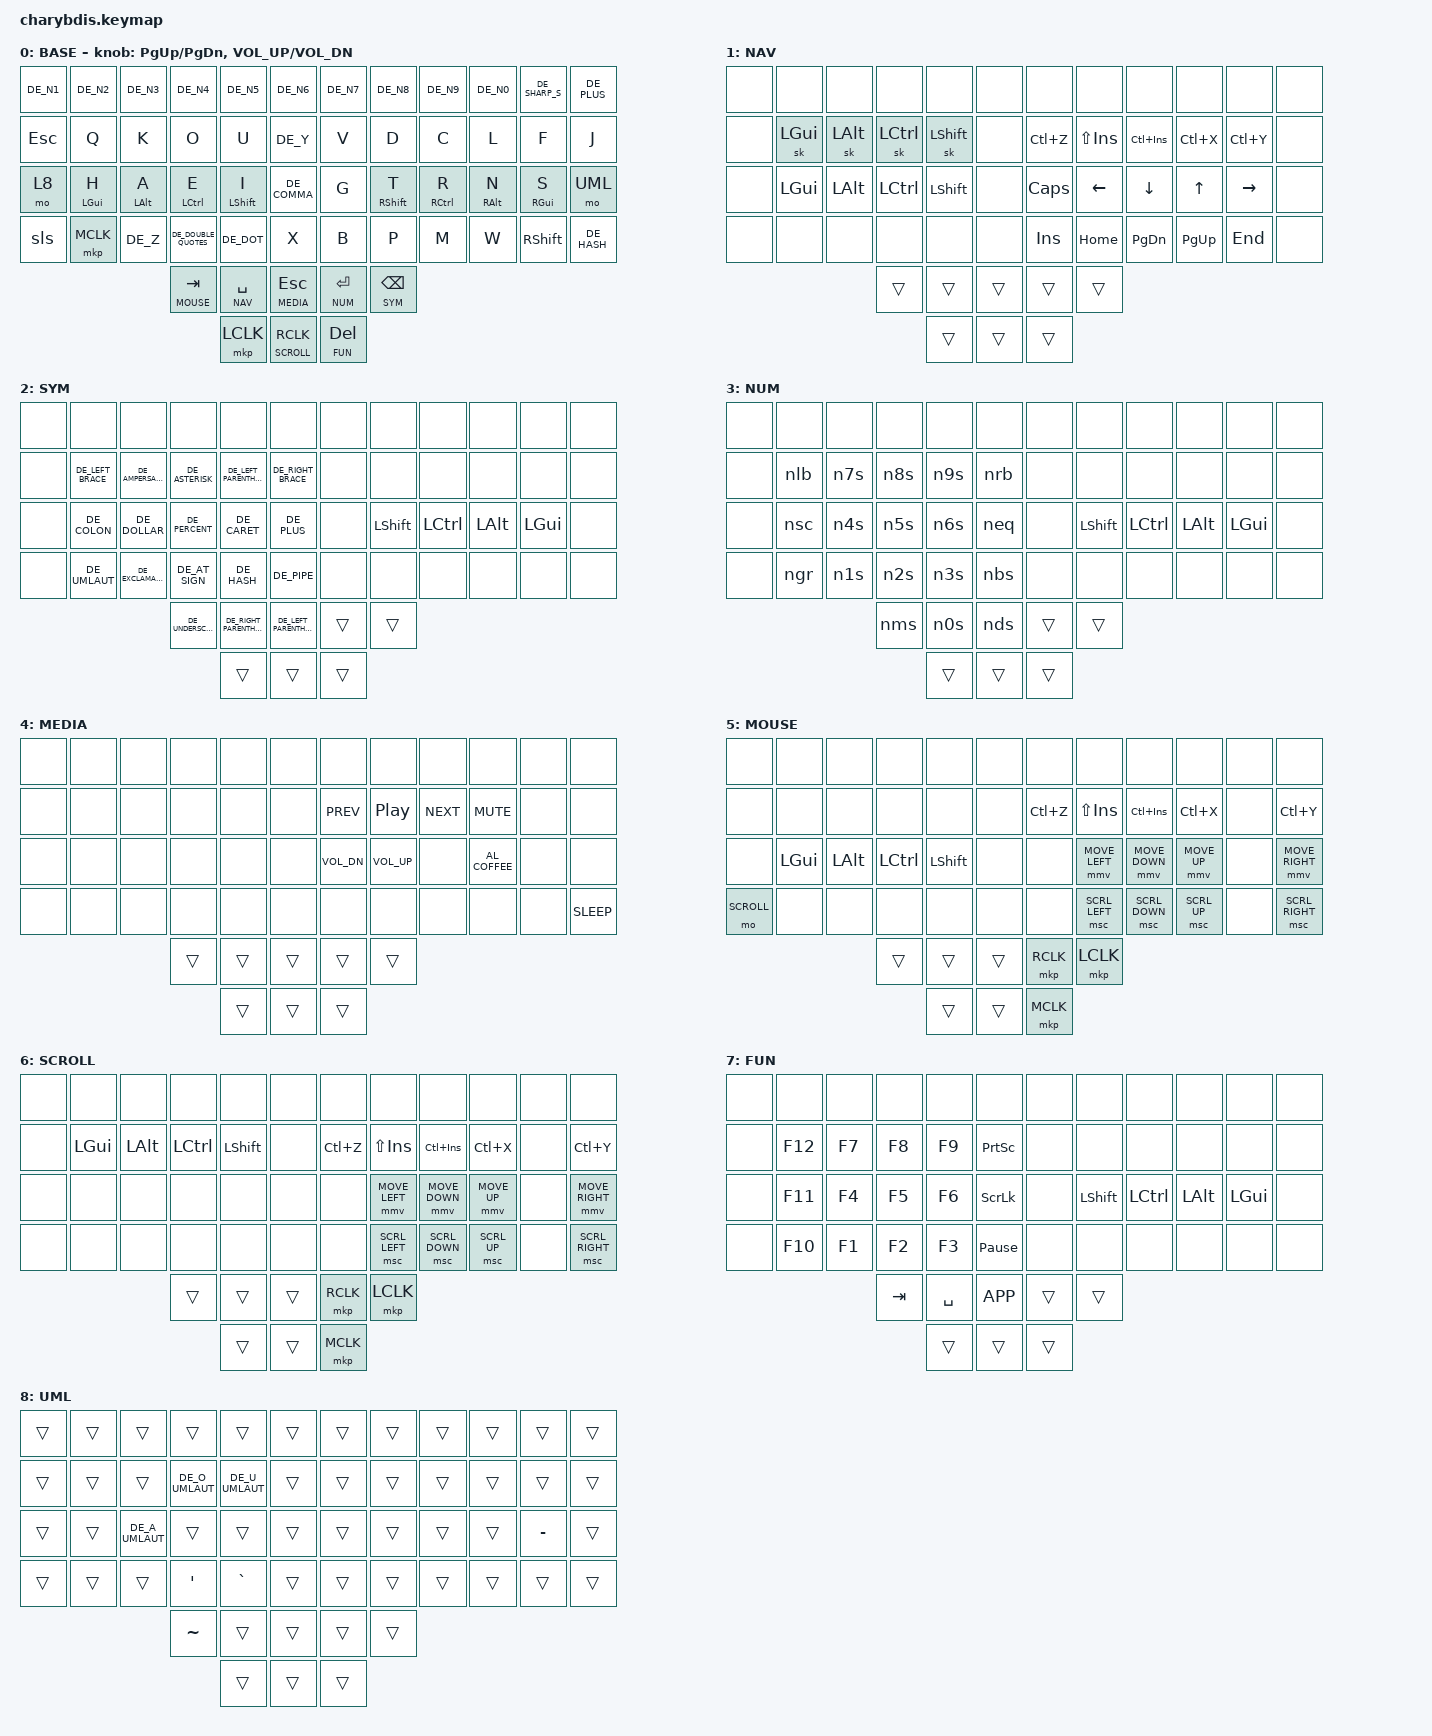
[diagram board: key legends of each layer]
#include "keys_de_german.h"
#include <dt-bindings/zmk/mouse.h>
#include <behaviors/mouse_keys.dtsi>
#include <behaviors.dtsi>
#include <dt-bindings/zmk/keys.h>
#include <dt-bindings/zmk/pointing.h>

/*
 * Custom Charybdis 4x6 layout (Anymak END alphas + Miryoku-style layers)
 * -----------------------------------------------------------------------
 * This file is the hardware source of truth.
 * `charybdis.editor.keymap` is kept editor-friendly and may differ in naming.
 */
/* Layer IDs (keep stable; referenced by listeners and toggles) */

#define BASE    0
#define NAV     1
#define SYM     2
#define NUM     3
#define MEDIA   4
#define MOUSE   5
#define SCROLL  6
#define FUN     7
#define UML     8

/ {
    /* Trackball pointer on normal layers */

    trackball_listener {
        compatible = "zmk,input-behavior-listener";
        device = <&trackball>;
        layers = <BASE NAV NUM MEDIA MOUSE>;
        evt-type = <INPUT_EV_REL>;
        x-input-code = <INPUT_REL_X>;
        y-input-code = <INPUT_REL_Y>;
        scale-multiplier = <1>;
        scale-divisor = <2>;
    };

    /* Trackball scroll only when SCROLL layer is active */

    trackball_scroll_listener {
        compatible = "zmk,input-behavior-listener";
        device = <&trackball>;
        layers = <SCROLL>;
        evt-type = <INPUT_EV_REL>;
        x-input-code = <INPUT_REL_HWHEEL>;
        y-input-code = <INPUT_REL_WHEEL>;
        y-invert;
        bindings = <&ib_wheel_scaler 1 14>;
    };

    ib_wheel_scaler: ib_wheel_scaler {
        compatible = "zmk,input-behavior-scaler";
        #binding-cells = <2>;
        evt-type = <INPUT_EV_REL>;
        input-code = <INPUT_REL_WHEEL>;
    };

    behaviors {
        /* Home-row mod hold-tap behaviors with opposite-hand hold triggers */

        hm_l: hm_l {
            compatible = "zmk,behavior-hold-tap";
            label = "HM_L";
            #binding-cells = <2>;
            tapping-term-ms = <210>;
            quick-tap-ms = <150>;
            require-prior-idle-ms = <170>;
            flavor = "balanced";
            bindings = <&kp>, <&kp>;

            hold-trigger-key-positions = <6 7 8 9 10 11 18 19 20 21 22 23 30 31 32 33 34 35 42 43 44 45 46 47 51 52 54 55>;
            hold-trigger-on-release;
        };

        hm_r: hm_r {
            compatible = "zmk,behavior-hold-tap";
            label = "HM_R";
            #binding-cells = <2>;
            tapping-term-ms = <210>;
            quick-tap-ms = <150>;
            require-prior-idle-ms = <170>;
            flavor = "balanced";
            bindings = <&kp>, <&kp>;

            hold-trigger-key-positions = <0 1 2 3 4 5 12 13 14 15 16 17 24 25 26 27 28 29 36 37 38 39 40 41 48 49 50 53>;
            hold-trigger-on-release;
        };

        /* Thumb layer-tap with quick-tap repeat: tap, then quick re-press-and-hold repeats Backspace instead of activating SYM. */

        bspc_sym: bspc_sym {
            compatible = "zmk,behavior-hold-tap";
            label = "BSPC_SYM";
            #binding-cells = <2>;
            tapping-term-ms = <210>;
            quick-tap-ms = <200>;
            flavor = "balanced";
            bindings = <&mo>, <&kp>;
        };

        /* Thumb layer-tap with quick-tap repeat for Space before NAV hold. */

        spc_nav: spc_nav {
            compatible = "zmk,behavior-hold-tap";
            label = "SPC_NAV";
            #binding-cells = <2>;
            tapping-term-ms = <210>;
            quick-tap-ms = <200>;
            flavor = "balanced";
            bindings = <&mo>, <&kp>;
        };

        /* Thumb layer-tap with quick-tap repeat for Enter before NUM hold. */

        ent_num: ent_num {
            compatible = "zmk,behavior-hold-tap";
            label = "ENT_NUM";
            #binding-cells = <2>;
            tapping-term-ms = <210>;
            quick-tap-ms = <200>;
            flavor = "balanced";
            bindings = <&mo>, <&kp>;
        };

        /* Thumb layer-tap with quick-tap repeat for Delete before FUN hold. */

        del_fun: del_fun {
            compatible = "zmk,behavior-hold-tap";
            label = "DEL_FUN";
            #binding-cells = <2>;
            tapping-term-ms = <210>;
            quick-tap-ms = <200>;
            flavor = "balanced";
            bindings = <&mo>, <&kp>;
        };

        /* Mouse button hold-tap: tap right click, hold scroll layer. */

        rclk_scroll: rclk_scroll {
            compatible = "zmk,behavior-hold-tap";
            label = "RCLK_SCR";
            #binding-cells = <2>;
            tapping-term-ms = <210>;
            flavor = "balanced";
            bindings = <&mo>, <&mkp>;
        };

        /* NUM layer shifted dual-bindings (tap number, hold shift => symbol) */

        n7s: n7s {
            compatible = "zmk,behavior-mod-morph";
            #binding-cells = <0>;
            bindings = <&kp DE_N7>, <&kp DE_AMPERSAND>;

            mods = <(MOD_LSFT|MOD_RSFT)>;
        };

        n8s: n8s {
            compatible = "zmk,behavior-mod-morph";
            #binding-cells = <0>;
            bindings = <&kp DE_N8>, <&kp DE_ASTERISK>;

            mods = <(MOD_LSFT|MOD_RSFT)>;
        };

        n9s: n9s {
            compatible = "zmk,behavior-mod-morph";
            #binding-cells = <0>;
            bindings = <&kp DE_N9>, <&kp DE_LEFT_PARENTHESIS>;

            mods = <(MOD_LSFT|MOD_RSFT)>;
        };

        n4s: n4s {
            compatible = "zmk,behavior-mod-morph";
            #binding-cells = <0>;
            bindings = <&kp DE_N4>, <&kp DE_DOLLAR>;

            mods = <(MOD_LSFT|MOD_RSFT)>;
        };

        n5s: n5s {
            compatible = "zmk,behavior-mod-morph";
            #binding-cells = <0>;
            bindings = <&kp DE_N5>, <&kp DE_PERCENT>;

            mods = <(MOD_LSFT|MOD_RSFT)>;
        };

        n6s: n6s {
            compatible = "zmk,behavior-mod-morph";
            #binding-cells = <0>;
            bindings = <&kp DE_N6>, <&kp DE_CARET>;

            mods = <(MOD_LSFT|MOD_RSFT)>;
        };

        n1s: n1s {
            compatible = "zmk,behavior-mod-morph";
            #binding-cells = <0>;
            bindings = <&kp DE_N1>, <&kp DE_EXCLAMATION>;

            mods = <(MOD_LSFT|MOD_RSFT)>;
        };

        n2s: n2s {
            compatible = "zmk,behavior-mod-morph";
            #binding-cells = <0>;
            bindings = <&kp DE_N2>, <&kp DE_AT_SIGN>;

            mods = <(MOD_LSFT|MOD_RSFT)>;
        };

        n3s: n3s {
            compatible = "zmk,behavior-mod-morph";
            #binding-cells = <0>;
            bindings = <&kp DE_N3>, <&kp DE_HASH>;

            mods = <(MOD_LSFT|MOD_RSFT)>;
        };

        n0s: n0s {
            compatible = "zmk,behavior-mod-morph";
            #binding-cells = <0>;
            bindings = <&kp DE_N0>, <&kp DE_RIGHT_PARENTHESIS>;

            mods = <(MOD_LSFT|MOD_RSFT)>;
        };

        nds: nds {
            compatible = "zmk,behavior-mod-morph";
            #binding-cells = <0>;
            bindings = <&kp DE_DOT>, <&kp DE_GREATER_THAN>;

            mods = <(MOD_LSFT|MOD_RSFT)>;
        };

        nms: nms {
            compatible = "zmk,behavior-mod-morph";
            #binding-cells = <0>;
            bindings = <&kp DE_MINUS>, <&kp DE_UNDERSCORE>;

            mods = <(MOD_LSFT|MOD_RSFT)>;
        };

        nlb: nlb {
            compatible = "zmk,behavior-mod-morph";
            #binding-cells = <0>;
            bindings = <&kp DE_LEFT_BRACKET>, <&kp DE_LEFT_BRACE>;

            mods = <(MOD_LSFT|MOD_RSFT)>;
        };

        nsc: nsc {
            compatible = "zmk,behavior-mod-morph";
            #binding-cells = <0>;
            bindings = <&kp DE_SEMICOLON>, <&kp DE_COLON>;

            mods = <(MOD_LSFT|MOD_RSFT)>;
        };

        ngr: ngr {
            compatible = "zmk,behavior-mod-morph";
            #binding-cells = <0>;
            bindings = <&kp DE_GRAVE>, <&kp DE_TILDE>;

            mods = <(MOD_LSFT|MOD_RSFT)>;
        };

        nrb: nrb {
            compatible = "zmk,behavior-mod-morph";
            #binding-cells = <0>;
            bindings = <&kp DE_RIGHT_BRACKET>, <&kp DE_RIGHT_BRACE>;

            mods = <(MOD_LSFT|MOD_RSFT)>;
        };

        neq: neq {
            compatible = "zmk,behavior-mod-morph";
            #binding-cells = <0>;
            bindings = <&kp DE_EQUAL>, <&kp DE_PLUS>;

            mods = <(MOD_LSFT|MOD_RSFT)>;
        };

        nbs: nbs {
            compatible = "zmk,behavior-mod-morph";
            #binding-cells = <0>;
            bindings = <&kp DE_BACKSLASH>, <&kp DE_PIPE>;

            mods = <(MOD_LSFT|MOD_RSFT)>;
        };

        sls: sls {
            compatible = "zmk,behavior-mod-morph";
            #binding-cells = <0>;
            bindings = <&kp DE_SLASH>, <&kp DE_BACKSLASH>;

            mods = <(MOD_LSFT|MOD_RSFT)>;
        };

        bslh_sls: bslh_sls {
            compatible = "zmk,behavior-mod-morph";
            #binding-cells = <0>;
            bindings = <&kp DE_BSLH>, <&kp DE_SLASH>;

            mods = <(MOD_LSFT|MOD_RSFT)>;
        };
    };

    keymap {
        compatible = "zmk,keymap";

        base_layer {
            label = "BASE";
            bindings = <
&kp DE_N1   &kp DE_N2         &kp DE_N3         &kp DE_N4             &kp DE_N5           &kp DE_N6                   &kp DE_N7            &kp DE_N8                &kp DE_N9              &kp DE_N0          &kp DE_SHARP_S     &kp DE_PLUS
&kp ESCAPE  &kp Q             &kp K             &kp O                 &kp U               &kp DE_Y                    &kp V                &kp D                    &kp C                  &kp L              &kp F              &kp J
&mo 8       &hm_l LEFT_GUI H  &hm_l LEFT_ALT A  &hm_l LEFT_CONTROL E  &hm_l LEFT_SHIFT I  &kp DE_COMMA                &kp G                &hm_r RIGHT_SHIFT T      &hm_r RIGHT_CONTROL R  &hm_r RIGHT_ALT N  &hm_r RIGHT_GUI S  &mo UML
&sls        &mkp MCLK         &kp DE_Z          &kp DE_DOUBLE_QUOTES  &kp DE_DOT          &kp X                       &kp B                &kp P                    &kp M                  &kp W              &kp RIGHT_SHIFT    &kp DE_HASH
                                                &lt MOUSE TAB         &spc_nav NAV SPACE  &lt MEDIA ESCAPE            &ent_num NUM ENTER   &bspc_sym SYM BACKSPACE
                                                                      &mkp LCLK           &rclk_scroll SCROLL RCLK    &del_fun FUN DELETE
            >;

            sensor-bindings =
                <&inc_dec_kp PG_UP PG_DN>,
                <&inc_dec_kp C_VOL_UP C_VOL_DN>;
        };

        nav_layer {
            label = "NAV";
            bindings = <
&none   &none             &none            &none            &none                &none                  &none          &none            &none           &none            &none            &none
&none   &sk LEFT_GUI      &sk LEFT_ALT     &sk LEFT_CONTROL &sk LEFT_SHIFT       &none                  &kp LC(Z)      &kp LS(INSERT)   &kp LC(INSERT)  &kp LC(X)        &kp LC(Y)        &none
&none         &kp LEFT_GUI  &kp LEFT_ALT     &kp LEFT_CONTROL &kp LEFT_SHIFT       &none                  &kp CAPSLOCK   &kp LEFT_ARROW   &kp DOWN_ARROW  &kp UP_ARROW     &kp RIGHT_ARROW  &none
&none   &none             &none            &none            &none                &none                  &kp INSERT     &kp HOME         &kp PAGE_DOWN   &kp PAGE_UP      &kp END          &none
                                   &trans            &trans           &trans               &trans           &trans
                                                     &trans           &trans           &trans
            >;
        };

        sym_layer {
            label = "SYM";
            bindings = <
&none  &none              &none               &none              &none                     &none                      &none   &none           &none             &none         &none         &none
&none  &kp DE_LEFT_BRACE  &kp DE_AMPERSAND    &kp DE_ASTERISK    &kp DE_LEFT_PARENTHESIS   &kp DE_RIGHT_BRACE         &none   &none           &none             &none         &none         &none
&none  &kp DE_COLON       &kp DE_DOLLAR       &kp DE_PERCENT     &kp DE_CARET              &kp DE_PLUS                &none   &kp LEFT_SHIFT  &kp LEFT_CONTROL  &kp LEFT_ALT  &kp LEFT_GUI  &none
&none  &kp DE_UMLAUT      &kp DE_EXCLAMATION  &kp DE_AT_SIGN     &kp DE_HASH               &kp DE_PIPE                &none   &none           &none             &none         &none         &none
                                              &kp DE_UNDERSCORE  &kp DE_RIGHT_PARENTHESIS  &kp DE_LEFT_PARENTHESIS    &trans  &trans
                                                                 &trans                    &trans                     &trans
            >;
        };

        num_layer {
            label = "NUM";
            bindings = <
&none  &none  &none  &none  &none   &none     &none   &none           &none             &none         &none         &none
&none  &nlb   &n7s   &n8s   &n9s    &nrb      &none   &none           &none             &none         &none         &none
&none  &nsc   &n4s   &n5s   &n6s    &neq      &none   &kp LEFT_SHIFT  &kp LEFT_CONTROL  &kp LEFT_ALT  &kp LEFT_GUI  &none
&none  &ngr   &n1s   &n2s   &n3s    &nbs      &none   &none           &none             &none         &none         &none
                     &nms   &n0s    &nds      &trans  &trans
                            &trans  &trans    &trans
            >;
        };

        media_layer {
            label = "MEDIA";
            bindings = <
&none  &none  &none  &none   &none   &none     &none         &none             &none       &none            &none  &none
&none  &none  &none  &none   &none   &none     &kp C_PREV    &kp C_PLAY_PAUSE  &kp C_NEXT  &kp C_MUTE       &none  &none
&none  &none  &none  &none   &none   &none     &kp C_VOL_DN  &kp C_VOL_UP      &none       &kp C_AL_COFFEE  &none  &none
&none  &none  &none  &none   &none   &none     &none         &none             &none       &none            &none  &kp C_SLEEP
                     &trans  &trans  &trans    &trans        &trans
                             &trans  &trans    &trans
            >;
        };

        mouse_layer {
            label = "MOUSE";
            bindings = <
&none   &none           &none             &none            &none             &none          &none            &none             &none           &none          &none        &none
&none   &none           &none             &none            &none             &none          &kp LC(Z)        &kp LS(INSERT)    &kp LC(INSERT)  &kp LC(X)      &none        &kp LC(Y)
&none   &kp LEFT_GUI    &kp LEFT_ALT      &kp LEFT_CONTROL &kp LEFT_SHIFT    &none          &none            &mmv MOVE_LEFT    &mmv MOVE_DOWN  &mmv MOVE_UP   &none        &mmv MOVE_RIGHT
 &mo SCROLL  &none        &none             &none            &none             &none          &none            &msc SCRL_LEFT    &msc SCRL_DOWN  &msc SCRL_UP   &none        &msc SCRL_RIGHT
                               &trans      &trans      &trans            &mkp RCLK         &mkp LCLK
                                           &trans      &trans            &mkp MCLK
            >;
        };

        scroll_layer {
            label = "SCROLL";
            bindings = <
&none   &none           &none             &none            &none             &none          &none            &none             &none           &none          &none        &none
&none   &kp LEFT_GUI    &kp LEFT_ALT      &kp LEFT_CONTROL &kp LEFT_SHIFT    &none          &kp LC(Z)        &kp LS(INSERT)    &kp LC(INSERT)  &kp LC(X)      &none        &kp LC(Y)
&none      &none        &none             &none            &none             &none          &none            &mmv MOVE_LEFT    &mmv MOVE_DOWN  &mmv MOVE_UP   &none        &mmv MOVE_RIGHT
/* SCROLL is momentary via left outer key in BASE/MOUSE (&mo SCROLL). */
&none   &none           &none             &none            &none             &none          &none            &msc SCRL_LEFT    &msc SCRL_DOWN  &msc SCRL_UP   &none        &msc SCRL_RIGHT
                               &trans      &trans      &trans            &mkp RCLK         &mkp LCLK
                                           &trans      &trans            &mkp MCLK
            >;
        };

        fun_layer {
            label = "FUN";
            bindings = <
&none  &none    &none   &none    &none      &none              &none   &none           &none             &none         &none         &none
&none  &kp F12  &kp F7  &kp F8   &kp F9     &kp PRINTSCREEN    &none   &none           &none             &none         &none         &none
&none  &kp F11  &kp F4  &kp F5   &kp F6     &kp SCROLLLOCK     &none   &kp LEFT_SHIFT  &kp LEFT_CONTROL  &kp LEFT_ALT  &kp LEFT_GUI  &none
&none  &kp F10  &kp F1  &kp F2   &kp F3     &kp PAUSE_BREAK    &none   &none           &none             &none         &none         &none
                        &kp TAB  &kp SPACE  &kp K_APP          &trans  &trans
                                 &trans     &trans             &trans
            >;
        };

        uml_layer {
            label = "UML";
            bindings = <
&trans  &trans  &trans           &trans            &trans           &trans    &trans  &trans  &trans  &trans  &trans     &trans
&trans  &trans  &trans           &kp DE_O_UMLAUT   &kp DE_U_UMLAUT  &trans    &trans  &trans  &trans  &trans  &trans     &trans
&trans  &trans  &kp DE_A_UMLAUT  &trans            &trans           &trans    &trans  &trans  &trans  &trans  &kp MINUS  &trans
&trans  &trans  &trans           &kp SINGLE_QUOTE  &kp GRAVE        &trans    &trans  &trans  &trans  &trans  &trans     &trans
                                 &kp TILDE         &trans           &trans    &trans  &trans
                                                   &trans           &trans    &trans
            >;
        };
    };
};
